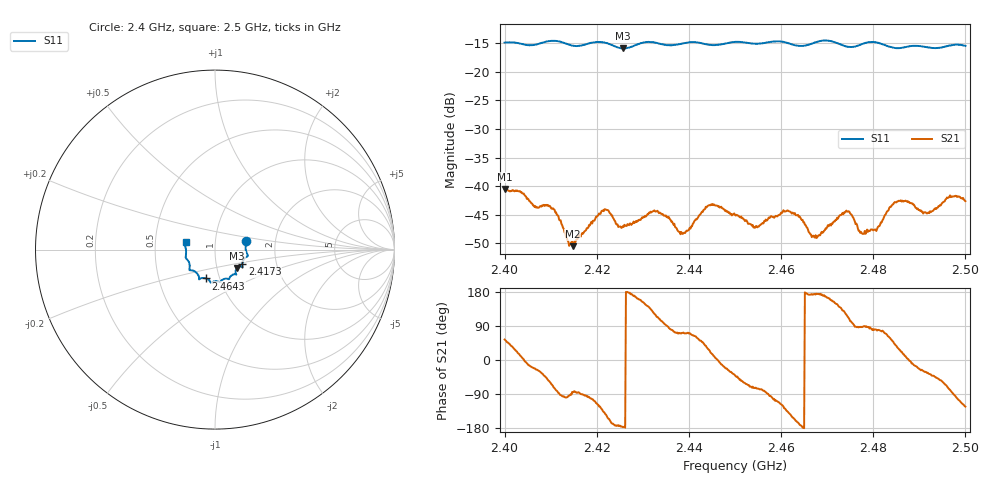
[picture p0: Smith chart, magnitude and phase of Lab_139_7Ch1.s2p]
# Hz S RI R 50
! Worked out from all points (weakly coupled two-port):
!   601 points, 2.4 GHz to 2.5 GHz, reference 50 ohm
!   highest |S21| = -40.53 dB at 2.4 GHz (marker M1); lowest = -50.5 dB at 2.4148 GHz (marker M2)
!   lowest |S11| = -15.9 dB at 2.4257 GHz (marker M3), VSWR 1.38, Z = 62.5 - j13.1 ohm
!   |S11| at or under -10 dB: start of sweep to end of sweep
!   S12 and S22 are empty: the file has one direction only
!   S11 on the Smith chart (normalised r, x): 2.4 GHz: 1.41, +0.14; 2.4173 GHz: 1.34, -0.23; 2.4643 GHz: 0.86, -0.29; 2.5 GHz: 0.72, +0.06
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2.4e9  0.1736 0.0488  0.00552 0.00762  0 0  0 0
2.410333e9  0.1837 -0.0343  0.00259 -0.00579  0 0  0 0
2.414833e9  0.1605 -0.0539  0.000238 -0.00297  0 0  0 0
2.416667e9  0.1529 -0.0743  -1.83e-05 -0.0038  0 0  0 0
2.417333e9  0.1522 -0.0818  -0.000266 -0.004  0 0  0 0
2.421667e9  0.1528 -0.096  -0.00472 -0.00411  0 0  0 0
2.425667e9  0.1231 -0.1025  -0.00445 -0.000218  0 0  0 0
2.433333e9  0.1127 -0.1373  -0.0022 0.0055  0 0  0 0
2.438667e9  0.0808 -0.1578  0.00119 0.00362  0 0  0 0
2.444667e9  0.0584 -0.1617  0.00638 0.00233  0 0  0 0
2.45e9  0.0284 -0.1807  0.00426 -0.00361  0 0  0 0
2.4545e9  0.00599 -0.176  0.00131 -0.00426  0 0  0 0
2.461e9  -0.0267 -0.1788  -0.0039 -0.00457  0 0  0 0
2.464333e9  -0.05 -0.1608  -0.0051 -0.00063  0 0  0 0
2.466667e9  -0.0762 -0.1592  -0.00355 0.000374  0 0  0 0
2.474333e9  -0.1001 -0.1324  -0.00265 0.00534  0 0  0 0
2.477333e9  -0.1295 -0.1155  0.000167 0.00397  0 0  0 0
2.480333e9  -0.1433 -0.1123  0.000661 0.00411  0 0  0 0
2.483333e9  -0.1406 -0.0897  0.0029 0.00545  0 0  0 0
2.4865e9  -0.1521 -0.0591  0.00706 0.00194  0 0  0 0
2.492e9  -0.1614 -0.0256  0.00475 -0.00346  0 0  0 0
2.5e9  -0.1632 0.0424  -0.00403 -0.00618  0 0  0 0
